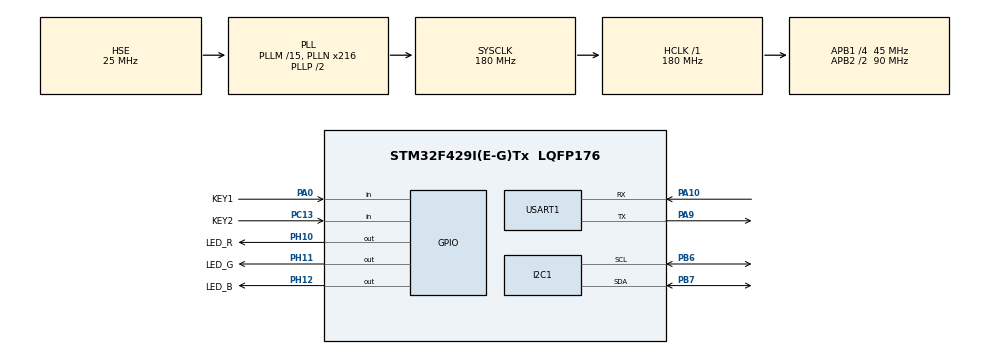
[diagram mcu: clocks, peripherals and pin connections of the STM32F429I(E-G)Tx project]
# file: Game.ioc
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Mcu.Family=STM32F4
Mcu.Name=STM32F429I(E-G)Tx
Mcu.Package=LQFP176
NVIC.PriorityGroup=NVIC_PRIORITYGROUP_4
NVIC.TIM6_DAC_IRQn=true\:0\:0\:false\:false\:true\:true\:true\:true
PA0/WKUP.GPIO_Label=KEY1
PA0/WKUP.GPIO_PuPd=GPIO_PULLDOWN
PA0/WKUP.Signal=GPIO_Input
PA10.Mode=Asynchronous
PA10.Signal=USART1_RX
PA13.Mode=Serial_Wire
PA13.Signal=SYS_JTMS-SWDIO
PA14.Mode=Serial_Wire
PA14.Signal=SYS_JTCK-SWCLK
PA9.Mode=Asynchronous
PA9.Signal=USART1_TX
PB6.Mode=I2C
PB6.Signal=I2C1_SCL
PB7.Mode=I2C
PB7.Signal=I2C1_SDA
PC13.GPIO_Label=KEY2
PC13.GPIO_PuPd=GPIO_PULLDOWN
PC13.Signal=GPIO_Input
PH0/OSC_IN.Mode=HSE-External-Oscillator
PH0/OSC_IN.Signal=RCC_OSC_IN
PH1/OSC_OUT.Mode=HSE-External-Oscillator
PH1/OSC_OUT.Signal=RCC_OSC_OUT
PH10.GPIO_Label=LED_R
PH10.PinState=GPIO_PIN_SET
PH10.Signal=GPIO_Output
PH11.GPIO_Label=LED_G
PH11.PinState=GPIO_PIN_SET
PH11.Signal=GPIO_Output
PH12.GPIO_Label=LED_B
PH12.PinState=GPIO_PIN_SET
PH12.Signal=GPIO_Output
ProjectManager.HeapSize=0x200
ProjectManager.StackSize=0x400
ProjectManager.TargetToolchain=MDK-ARM V5.32
RCC.48MHZClocksFreq_Value=90000000
RCC.AHBFreq_Value=180000000
RCC.APB1CLKDivider=RCC_HCLK_DIV4
RCC.APB1Freq_Value=45000000
RCC.APB1TimFreq_Value=90000000
RCC.APB2CLKDivider=RCC_HCLK_DIV2
RCC.APB2Freq_Value=90000000
RCC.APB2TimFreq_Value=180000000
RCC.CortexFreq_Value=180000000
RCC.HCLKFreq_Value=180000000
RCC.HSE_VALUE=25000000
RCC.HSI_VALUE=16000000
RCC.LSE_VALUE=32768
RCC.PLLM=15
RCC.PLLN=216
RCC.PLLSourceVirtual=RCC_PLLSOURCE_HSE
RCC.SYSCLKFreq_VALUE=180000000
RCC.SYSCLKSource=RCC_SYSCLKSOURCE_PLLCLK
RCC.VCOOutputFreq_Value=360000000
TIM6.Period=9
TIM6.Prescaler=8999
USART1.VirtualMode=VM_ASYNC
VP_TIM6_VS_ClockSourceINT.Mode=Enable_Timer
board=custom

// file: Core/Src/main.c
/* USER CODE BEGIN Header */
/**
  ******************************************************************************
  * @file           : main.c
  * @brief          : Main program body
  ******************************************************************************
  * @attention
  *
  * Copyright (c) 2026 STMicroelectronics.
  * All rights reserved.
  *
  * This software is licensed under terms that can be found in the LICENSE file
  * in the root directory of this software component.
  * If no LICENSE file comes with this software, it is provided AS-IS.
  *
  ******************************************************************************
  */
/* USER CODE END Header */
#include "main.h"

/* USER CODE BEGIN Includes */
#include <stdio.h>
#include <string.h>
#include "mpu6050.h"
#include "game.h"
#include "app.h"
/* USER CODE END Includes */

I2C_HandleTypeDef hi2c1;

TIM_HandleTypeDef htim6;

UART_HandleTypeDef huart1;

void SystemClock_Config(void);
static void MX_GPIO_Init(void);
static void MX_I2C1_Init(void);
static void MX_TIM6_Init(void);
static void MX_USART1_UART_Init(void);

/* USER CODE BEGIN 0 */

/* ----------------------------------------------------------------------------
 * TIM6 的 1ms 节拍
 *
 * volatile 必须有：中断里改、主循环里读。不加的话编译器可能把它缓存进
 * 寄存器，主循环永远读到旧值，表现为"程序卡住不动"。
 * -------------------------------------------------------------------------- */
volatile uint32_t g_ticks = 0;

/* ----------------------------------------------------------------------------
 * IMU 句柄（全局，方便以后别的模块调用）
 * -------------------------------------------------------------------------- */
MPU6050_HandleTypeDef g_imu;

/* ----------------------------------------------------------------------------
 * 「水平参考」—— 静止校准得到的加速度零偏
 *
 * 为什么必须有：
 *   板子明明放平，实测 ax ≈ 300（不是 0）。这 300 就是器件零偏 + 装配倾斜。
 *   如果直接拿 ax 当倾斜量，游戏里的球会一直往一边漂。
 *   所以先记下"放平时读多少"，之后都用【差值】判断倾斜。
 * -------------------------------------------------------------------------- */
static int16_t g_ax_ref = 0;
static int16_t g_ay_ref = 0;

/* ----------------------------------------------------------------------------
 * 应用上下文（游戏 + 按钮 + 状态机）
 * -------------------------------------------------------------------------- */
App_Ctx g_app;

/* ----------------------------------------------------------------------------
 * 按键边沿检测
 *
 * 怎么做到消抖的：这个函数每 20ms 才被调用一次，所以"连续两次读到按下"
 * 本身就隔了 20ms —— 抖动的毛刺撑不过这个间隔。简单但够用。
 * 按下电平：板子按键是 3.3V + 下拉电阻，所以【按下 = 高电平】。
 * -------------------------------------------------------------------------- */
static uint8_t key_pressed_edge(GPIO_TypeDef *port, uint16_t pin, uint8_t *last)
{
    uint8_t now = (HAL_GPIO_ReadPin(port, pin) == GPIO_PIN_SET) ? 1u : 0u;
    uint8_t ev  = (now && !(*last)) ? 1u : 0u;      /* 上升沿 = 刚按下 */
    *last = now;
    return ev;
}

/* ----------------------------------------------------------------------------
 * 采集 N 次加速度并求平均，作为水平参考
 * 调用时必须把板子放平不动
 * -------------------------------------------------------------------------- */
static void IMU_CalibrateLevel(MPU6050_HandleTypeDef *dev, uint16_t samples)
{
    int32_t  sum_x = 0, sum_y = 0;
    uint16_t i;
    MPU6050_RawData_t d;

    if (samples == 0) { samples = 1; }

    for (i = 0; i < samples; i++)
    {
        if (MPU6050_ReadRaw(dev, &d) == MPU6050_OK)
        {
            sum_x += d.ax;
            sum_y += d.ay;
        }
        HAL_Delay(5);
    }

    g_ax_ref = (int16_t)(sum_x / (int32_t)samples);
    g_ay_ref = (int16_t)(sum_y / (int32_t)samples);
}

/* ----------------------------------------------------------------------------
 * RGB LED 控制（共阳极：低电平点亮，所以这里是反的）
 *   bit0 = R, bit1 = G, bit2 = B
 * -------------------------------------------------------------------------- */
static void LED_SetRGB(uint8_t r, uint8_t g, uint8_t b)
{
    HAL_GPIO_WritePin(LED_R_GPIO_Port, LED_R_Pin, r ? GPIO_PIN_RESET : GPIO_PIN_SET);
    HAL_GPIO_WritePin(LED_G_GPIO_Port, LED_G_Pin, g ? GPIO_PIN_RESET : GPIO_PIN_SET);
    HAL_GPIO_WritePin(LED_B_GPIO_Port, LED_B_Pin, b ? GPIO_PIN_RESET : GPIO_PIN_SET);
}

/* ----------------------------------------------------------------------------
 * 串口打印小工具（阻塞发送，调试够用）
 * -------------------------------------------------------------------------- */
static void dbg(const char *s)
{
    HAL_UART_Transmit(&huart1, (uint8_t *)s, (uint16_t)strlen(s), 100);
}

/* USER CODE END 0 */

int main(void)
{

  /* MCU Configuration--------------------------------------------------------*/

  /* Reset of all peripherals, Initializes the Flash interface and the Systick. */
  HAL_Init();

  /* Configure the system clock */
  SystemClock_Config();

  /* Initialize all configured peripherals */
  MX_GPIO_Init();
  MX_I2C1_Init();
  MX_TIM6_Init();
  MX_USART1_UART_Init();
  /* USER CODE BEGIN 2 */
    {
        char     buf[80];
        uint8_t  id  = 0;
        MPU6050_Status st;

        /* ① 先开 1ms 节拍 */
        HAL_TIM_Base_Start_IT(&htim6);

        LED_SetRGB(0, 0, 1);                     /* 蓝灯：正在启动 */

        /* ② 直接读 WHO_AM_I —— 这是"芯片到底在不在"最硬的证据 */
        g_imu.hi2c  = &hi2c1;
        g_imu.addr8 = (uint16_t)(0x68 << 1);     /* 0xD0 */

        if (MPU6050_ReadWhoAmI(&g_imu, &id) == MPU6050_OK)
        {
            sprintf(buf, "[imu] WHO_AM_I = 0x%02X  OK\r\n", (unsigned)id);
            dbg(buf);
        }
        else
        {
            sprintf(buf, "[imu] WHO_AM_I read FAILED (got 0x%02X)\r\n", (unsigned)id);
            dbg(buf);
            dbg("[imu] check: VDD/GND/SCL/SDA wiring, addr 0x68 or 0x69, pull-ups\r\n");
            LED_SetRGB(1, 0, 0);                 /* 红灯：传感器没找到 */
            while (1) { }                        /* 停在这里，方便你看到红灯 */
        }

        /* ③ 完整初始化 */
        st = MPU6050_Init(&g_imu, &hi2c1);
        sprintf(buf, "[imu] Init = %d (0=OK)\r\n", (int)st);
        dbg(buf);

        /* ④ 静止校准：这一刻板子必须放平不动，约 2 秒 */
        dbg("[imu] calibrating, keep the board FLAT and STILL ...\r\n");
        MPU6050_CalibrateGyro(&g_imu, 200);          /* 陀螺零偏 */
        IMU_CalibrateLevel(&g_imu, 200);             /* 加速度水平参考 */
        sprintf(buf, "[imu] gyro bias = (%d, %d, %d)\r\n",
                (int)g_imu.gyro_bias[0], (int)g_imu.gyro_bias[1], (int)g_imu.gyro_bias[2]);
        dbg(buf);
        sprintf(buf, "[imu] level ref = ax:%d ay:%d\r\n",
                (int)g_ax_ref, (int)g_ay_ref);
        dbg(buf);

        LED_SetRGB(0, 1, 0);                     /* 绿灯：初始化完成 */

        /* ⑤ 初始化应用：进入 READY，等玩家点开始 */
        App_Init(&g_app);
        dbg("[app] state = READY.\r\n");
        dbg("[app] KEY1 = primary action (start/pause/resume/next/retry)\r\n");
        dbg("[app] KEY2 = restart current level\r\n\r\n");
    }
  /* USER CODE END 2 */

  /* Infinite loop */
  while (1)
  {

    /* USER CODE BEGIN 3 */
    {
        static uint32_t last_ctrl  = 0;
        static uint32_t last_print = 0;
        static uint8_t  key1_last  = 0;
        static uint8_t  key2_last  = 0;
        char             buf[140];
        MPU6050_RawData_t d;

        /* ============ 每 20ms 一轮（50Hz）============ */
        if (g_ticks - last_ctrl >= 20)
        {
            uint32_t dtms = g_ticks - last_ctrl;
            Game_State before;
            last_ctrl = g_ticks;

            /* ---- ① 按键（这里是"输入源"之一，以后触摸也走同一套动作）---- */
            if (key_pressed_edge(KEY1_GPIO_Port, KEY1_Pin, &key1_last))
            {
                /* KEY1 = 主操作：当前状态下第一个按钮 */
                if (g_app.button_count > 0)
                {
                    App_DoAction(&g_app, g_app.buttons[0].action);
                    sprintf(buf, "[key] KEY1 -> %s\r\n",
                            App_StateName(&g_app));
                    dbg(buf);
                }
            }
            if (key_pressed_edge(KEY2_GPIO_Port, KEY2_Pin, &key2_last))
            {
                App_DoAction(&g_app, ACT_RESTART);
                dbg("[key] KEY2 -> RESTART\r\n");
            }

            /* ---- ② 读 IMU 并推进游戏 ---- */
            before = g_app.game.state;
            if (MPU6050_ReadRaw(&g_imu, &d) == MPU6050_OK)
            {
                float tx = (float)((int16_t)(d.ax - g_ax_ref));
                float ty = (float)((int16_t)(d.ay - g_ay_ref));

                App_Update(&g_app, tx, ty, (float)dtms / 1000.0f);
            }

            /* ---- ③ 灯：跟着状态走 ---- */
            if (g_app.game.state != before)
            {
                switch (g_app.game.state)
                {
                case GAME_RUNNING: LED_SetRGB(0, 0, 1); break;  /* 蓝：进行中 */
                case GAME_WIN:     LED_SetRGB(0, 1, 0); break;  /* 绿：赢 */
                case GAME_FAIL:    LED_SetRGB(1, 0, 0); break;  /* 红：输 */
                case GAME_PAUSED:  LED_SetRGB(1, 1, 0); break;  /* 黄：暂停 */
                default:           LED_SetRGB(1, 1, 1); break;  /* 白：READY */
                }
                sprintf(buf, "[state] -> %s (level %u)\r\n",
                        App_StateName(&g_app),
                        (unsigned)(g_app.game.level_index + 1));
                dbg(buf);
            }
        }

        /* ============ 每 200ms 打印一次状态 ============ */
        if (g_ticks - last_print >= 200)
        {
            last_print = g_ticks;

            sprintf(buf, "L%u %s ball=(%4d,%4d) v=(%5d,%5d) t=%lums\r\n",
                    (unsigned)(g_app.game.level_index + 1),
                    App_StateName(&g_app),
                    (int)g_app.game.ball.x, (int)g_app.game.ball.y,
                    (int)g_app.game.ball.vx, (int)g_app.game.ball.vy,
                    (unsigned long)g_app.game.elapsed_ms);
            dbg(buf);
        }
    }
  }
  /* USER CODE END 3 */
}

void SystemClock_Config(void)
{
  RCC_OscInitTypeDef RCC_OscInitStruct = {0};
  RCC_ClkInitTypeDef RCC_ClkInitStruct = {0};

  /** Configure the main internal regulator output voltage
  */
  __HAL_RCC_PWR_CLK_ENABLE();
  __HAL_PWR_VOLTAGESCALING_CONFIG(PWR_REGULATOR_VOLTAGE_SCALE1);

  /** Initializes the RCC Oscillators according to the specified parameters
  * in the RCC_OscInitTypeDef structure.
  */
  RCC_OscInitStruct.OscillatorType = RCC_OSCILLATORTYPE_HSE;
  RCC_OscInitStruct.HSEState = RCC_HSE_ON;
  RCC_OscInitStruct.PLL.PLLState = RCC_PLL_ON;
  RCC_OscInitStruct.PLL.PLLSource = RCC_PLLSOURCE_HSE;
  RCC_OscInitStruct.PLL.PLLM = 15;
  RCC_OscInitStruct.PLL.PLLN = 216;
  RCC_OscInitStruct.PLL.PLLP = RCC_PLLP_DIV2;
  RCC_OscInitStruct.PLL.PLLQ = 4;
  if (HAL_RCC_OscConfig(&RCC_OscInitStruct) != HAL_OK)
  {
    Error_Handler();
  }

  /** Activate the Over-Drive mode
  */
  if (HAL_PWREx_EnableOverDrive() != HAL_OK)
  {
    Error_Handler();
  }

  /** Initializes the CPU, AHB and APB buses clocks
  */
  RCC_ClkInitStruct.ClockType = RCC_CLOCKTYPE_HCLK|RCC_CLOCKTYPE_SYSCLK
                              |RCC_CLOCKTYPE_PCLK1|RCC_CLOCKTYPE_PCLK2;
  RCC_ClkInitStruct.SYSCLKSource = RCC_SYSCLKSOURCE_PLLCLK;
  RCC_ClkInitStruct.AHBCLKDivider = RCC_SYSCLK_DIV1;
  RCC_ClkInitStruct.APB1CLKDivider = RCC_HCLK_DIV4;
  RCC_ClkInitStruct.APB2CLKDivider = RCC_HCLK_DIV2;

  if (HAL_RCC_ClockConfig(&RCC_ClkInitStruct, FLASH_LATENCY_5) != HAL_OK)
  {
    Error_Handler();
  }
}

static void MX_I2C1_Init(void)
{

  hi2c1.Instance = I2C1;
  hi2c1.Init.ClockSpeed = 100000;
  hi2c1.Init.DutyCycle = I2C_DUTYCYCLE_2;
  hi2c1.Init.OwnAddress1 = 0;
  hi2c1.Init.AddressingMode = I2C_ADDRESSINGMODE_7BIT;
  hi2c1.Init.DualAddressMode = I2C_DUALADDRESS_DISABLE;
  hi2c1.Init.OwnAddress2 = 0;
  hi2c1.Init.GeneralCallMode = I2C_GENERALCALL_DISABLE;
  hi2c1.Init.NoStretchMode = I2C_NOSTRETCH_DISABLE;
  if (HAL_I2C_Init(&hi2c1) != HAL_OK)
  {
    Error_Handler();
  }

  /** Configure Analogue filter
  */
  if (HAL_I2CEx_ConfigAnalogFilter(&hi2c1, I2C_ANALOGFILTER_ENABLE) != HAL_OK)
  {
    Error_Handler();
  }

  /** Configure Digital filter
  */
  if (HAL_I2CEx_ConfigDigitalFilter(&hi2c1, 0) != HAL_OK)
  {
    Error_Handler();
  }

}

static void MX_TIM6_Init(void)
{

  TIM_MasterConfigTypeDef sMasterConfig = {0};

  htim6.Instance = TIM6;
  htim6.Init.Prescaler = 8999;
  htim6.Init.CounterMode = TIM_COUNTERMODE_UP;
  htim6.Init.Period = 9;
  htim6.Init.AutoReloadPreload = TIM_AUTORELOAD_PRELOAD_DISABLE;
  if (HAL_TIM_Base_Init(&htim6) != HAL_OK)
  {
    Error_Handler();
  }
  sMasterConfig.MasterOutputTrigger = TIM_TRGO_RESET;
  sMasterConfig.MasterSlaveMode = TIM_MASTERSLAVEMODE_DISABLE;
  if (HAL_TIMEx_MasterConfigSynchronization(&htim6, &sMasterConfig) != HAL_OK)
  {
    Error_Handler();
  }

}

static void MX_USART1_UART_Init(void)
{

  huart1.Instance = USART1;
  huart1.Init.BaudRate = 115200;
  huart1.Init.WordLength = UART_WORDLENGTH_8B;
  huart1.Init.StopBits = UART_STOPBITS_1;
  huart1.Init.Parity = UART_PARITY_NONE;
  huart1.Init.Mode = UART_MODE_TX_RX;
  huart1.Init.HwFlowCtl = UART_HWCONTROL_NONE;
  huart1.Init.OverSampling = UART_OVERSAMPLING_16;
  if (HAL_UART_Init(&huart1) != HAL_OK)
  {
    Error_Handler();
  }

}

static void MX_GPIO_Init(void)
{
  GPIO_InitTypeDef GPIO_InitStruct = {0};

  /* GPIO Ports Clock Enable */
  __HAL_RCC_GPIOC_CLK_ENABLE();
  __HAL_RCC_GPIOH_CLK_ENABLE();
  __HAL_RCC_GPIOA_CLK_ENABLE();
  __HAL_RCC_GPIOB_CLK_ENABLE();

  /*Configure GPIO pin Output Level */
  HAL_GPIO_WritePin(GPIOH, LED_R_Pin|LED_G_Pin|LED_B_Pin, GPIO_PIN_SET);

  /*Configure GPIO pin : KEY2_Pin */
  GPIO_InitStruct.Pin = KEY2_Pin;
  GPIO_InitStruct.Mode = GPIO_MODE_INPUT;
  GPIO_InitStruct.Pull = GPIO_PULLDOWN;
  HAL_GPIO_Init(KEY2_GPIO_Port, &GPIO_InitStruct);

  /*Configure GPIO pin : KEY1_Pin */
  GPIO_InitStruct.Pin = KEY1_Pin;
  GPIO_InitStruct.Mode = GPIO_MODE_INPUT;
  GPIO_InitStruct.Pull = GPIO_PULLDOWN;
  HAL_GPIO_Init(KEY1_GPIO_Port, &GPIO_InitStruct);

  /*Configure GPIO pins : LED_R_Pin LED_G_Pin LED_B_Pin */
  GPIO_InitStruct.Pin = LED_R_Pin|LED_G_Pin|LED_B_Pin;
  GPIO_InitStruct.Mode = GPIO_MODE_OUTPUT_PP;
  GPIO_InitStruct.Pull = GPIO_NOPULL;
  GPIO_InitStruct.Speed = GPIO_SPEED_FREQ_LOW;
  HAL_GPIO_Init(GPIOH, &GPIO_InitStruct);

}

/* USER CODE BEGIN 4 */

/**
 * @brief  TIM6 更新中断回调 —— 整个游戏的时间基准
 * @note   里面只做一件事：节拍 +1。绝不在中断里采 IMU 或刷屏。
 */
void HAL_TIM_PeriodElapsedCallback(TIM_HandleTypeDef *htim)
{
    if (htim->Instance == TIM6)
    {
        g_ticks++;                  /* 每 1ms 加一 */
    }
}

/* USER CODE END 4 */

void Error_Handler(void)
{
  __disable_irq();
  while (1)
  {
  }
}
